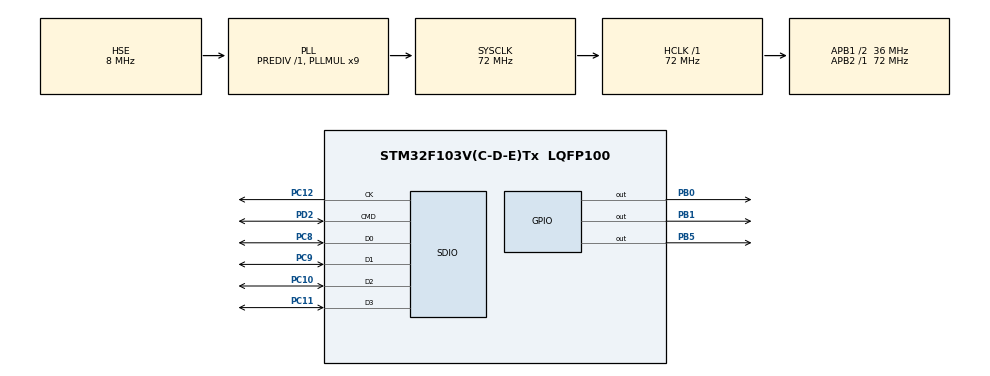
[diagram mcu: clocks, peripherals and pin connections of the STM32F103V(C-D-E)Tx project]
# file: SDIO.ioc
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FATFS._MAX_SS=4096
Mcu.Family=STM32F1
Mcu.Name=STM32F103V(C-D-E)Tx
Mcu.Package=LQFP100
NVIC.PriorityGroup=NVIC_PRIORITYGROUP_4
OSC_IN.Mode=HSE-External-Oscillator
OSC_IN.Signal=RCC_OSC_IN
OSC_OUT.Mode=HSE-External-Oscillator
OSC_OUT.Signal=RCC_OSC_OUT
PA13.Mode=Serial_Wire
PA13.Signal=SYS_JTMS-SWDIO
PA14.Mode=Serial_Wire
PA14.Signal=SYS_JTCK-SWCLK
PB0.GPIO_Speed=GPIO_SPEED_FREQ_HIGH
PB0.PinState=GPIO_PIN_SET
PB0.Signal=GPIO_Output
PB1.GPIO_Speed=GPIO_SPEED_FREQ_HIGH
PB1.PinState=GPIO_PIN_SET
PB1.Signal=GPIO_Output
PB5.GPIO_Speed=GPIO_SPEED_FREQ_HIGH
PB5.PinState=GPIO_PIN_SET
PB5.Signal=GPIO_Output
PC10.Mode=SD_4_bits_Wide_bus
PC10.Signal=SDIO_D2
PC11.Mode=SD_4_bits_Wide_bus
PC11.Signal=SDIO_D3
PC12.Mode=SD_4_bits_Wide_bus
PC12.Signal=SDIO_CK
PC14-OSC32_IN.Mode=LSE-External-Oscillator
PC14-OSC32_IN.Signal=RCC_OSC32_IN
PC15-OSC32_OUT.Mode=LSE-External-Oscillator
PC15-OSC32_OUT.Signal=RCC_OSC32_OUT
PC8.Mode=SD_4_bits_Wide_bus
PC8.Signal=SDIO_D0
PC9.Mode=SD_4_bits_Wide_bus
PC9.Signal=SDIO_D1
PD2.Mode=SD_4_bits_Wide_bus
PD2.Signal=SDIO_CMD
ProjectManager.HeapSize=0x2000
ProjectManager.StackSize=0x4000
ProjectManager.TargetToolchain=MDK-ARM V5
RCC.AHBFreq_Value=72000000
RCC.APB1CLKDivider=RCC_HCLK_DIV2
RCC.APB1Freq_Value=36000000
RCC.APB1TimFreq_Value=72000000
RCC.APB2Freq_Value=72000000
RCC.APB2TimFreq_Value=72000000
RCC.HCLKFreq_Value=72000000
RCC.PLLMUL=RCC_PLL_MUL9
RCC.PLLSourceVirtual=RCC_PLLSOURCE_HSE
RCC.SYSCLKFreq_VALUE=72000000
RCC.SYSCLKSource=RCC_SYSCLKSOURCE_PLLCLK
RCC.USBFreq_Value=72000000
SDIO.ClockDiv=4
SDIO.HardwareFlowControl=SDIO_HARDWARE_FLOW_CONTROL_ENABLE
VP_FATFS_VS_SDIO.Mode=SDIO
board=custom

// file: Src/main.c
/* USER CODE BEGIN Header */
/**
  ******************************************************************************
  * @file           : main.c
  * @brief          : Main program body
  ******************************************************************************
  * @attention
  *
  * <h2><center>&copy; Copyright (c) 2019 STMicroelectronics.
  * All rights reserved.</center></h2>
  *
  * This software component is licensed by ST under Ultimate Liberty license
  * SLA0044, the "License"; You may not use this file except in compliance with
  * the License. You may obtain a copy of the License at:
  *                             www.st.com/SLA0044
  *
  ******************************************************************************
  */
/* USER CODE END Header */

#include "main.h"
#include "fatfs.h"

SD_HandleTypeDef hsd;

void SystemClock_Config(void);
static void MX_GPIO_Init(void);
static void MX_SDIO_SD_Init(void);

int main(void)
{

  /* MCU Configuration--------------------------------------------------------*/

  /* Reset of all peripherals, Initializes the Flash interface and the Systick. */
  HAL_Init();

  /* Configure the system clock */
  SystemClock_Config();

  /* Initialize all configured peripherals */
  MX_GPIO_Init();
  MX_SDIO_SD_Init();
  MX_FATFS_Init();
  /* USER CODE BEGIN 2 */
	FATFS myFATFS;
	FIL myFILE;
	UINT numberofbytes;
	char myPath[] = "TEST.TXT\0";
	char myData[] = "Hello World\0";
	FRESULT res;

  res = f_mount(&myFATFS,SDPath,1);
	if (res == FR_OK)
	{
		HAL_GPIO_WritePin(GPIOB, GPIO_PIN_0,GPIO_PIN_RESET);
		f_open(&myFILE, myPath, FA_WRITE |FA_CREATE_ALWAYS);
		uint16_t i;
		/*
		for (i = 0; i < sizeof(myData); i++)
		{
			f_write(&myFILE, myData+i, 1, &numberofbytes);
		}*/
		f_write(&myFILE, myData, sizeof(myData), &numberofbytes);
		f_close(&myFILE);
		HAL_Delay(1000);
		HAL_GPIO_WritePin(GPIOB, GPIO_PIN_1,GPIO_PIN_RESET);
 	}
	else
	{
		HAL_GPIO_WritePin(GPIOB, GPIO_PIN_5,GPIO_PIN_RESET);
	}
  /* USER CODE END 2 */

  /* Infinite loop */
  while (1)
  {

  }
}

void SystemClock_Config(void)
{
  RCC_OscInitTypeDef RCC_OscInitStruct = {0};
  RCC_ClkInitTypeDef RCC_ClkInitStruct = {0};

  /** Initializes the CPU, AHB and APB busses clocks
  */
  RCC_OscInitStruct.OscillatorType = RCC_OSCILLATORTYPE_HSE;
  RCC_OscInitStruct.HSEState = RCC_HSE_ON;
  RCC_OscInitStruct.HSEPredivValue = RCC_HSE_PREDIV_DIV1;
  RCC_OscInitStruct.HSIState = RCC_HSI_ON;
  RCC_OscInitStruct.PLL.PLLState = RCC_PLL_ON;
  RCC_OscInitStruct.PLL.PLLSource = RCC_PLLSOURCE_HSE;
  RCC_OscInitStruct.PLL.PLLMUL = RCC_PLL_MUL9;
  if (HAL_RCC_OscConfig(&RCC_OscInitStruct) != HAL_OK)
  {
    Error_Handler();
  }
  /** Initializes the CPU, AHB and APB busses clocks
  */
  RCC_ClkInitStruct.ClockType = RCC_CLOCKTYPE_HCLK|RCC_CLOCKTYPE_SYSCLK
                              |RCC_CLOCKTYPE_PCLK1|RCC_CLOCKTYPE_PCLK2;
  RCC_ClkInitStruct.SYSCLKSource = RCC_SYSCLKSOURCE_PLLCLK;
  RCC_ClkInitStruct.AHBCLKDivider = RCC_SYSCLK_DIV1;
  RCC_ClkInitStruct.APB1CLKDivider = RCC_HCLK_DIV2;
  RCC_ClkInitStruct.APB2CLKDivider = RCC_HCLK_DIV1;

  if (HAL_RCC_ClockConfig(&RCC_ClkInitStruct, FLASH_LATENCY_2) != HAL_OK)
  {
    Error_Handler();
  }
}

static void MX_SDIO_SD_Init(void)
{

  hsd.Instance = SDIO;
  hsd.Init.ClockEdge = SDIO_CLOCK_EDGE_RISING;
  hsd.Init.ClockBypass = SDIO_CLOCK_BYPASS_DISABLE;
  hsd.Init.ClockPowerSave = SDIO_CLOCK_POWER_SAVE_DISABLE;
  hsd.Init.BusWide = SDIO_BUS_WIDE_1B;
  hsd.Init.HardwareFlowControl = SDIO_HARDWARE_FLOW_CONTROL_ENABLE;
  hsd.Init.ClockDiv = 4;

}

static void MX_GPIO_Init(void)
{
  GPIO_InitTypeDef GPIO_InitStruct = {0};

  /* GPIO Ports Clock Enable */
  __HAL_RCC_GPIOC_CLK_ENABLE();
  __HAL_RCC_GPIOB_CLK_ENABLE();
  __HAL_RCC_GPIOA_CLK_ENABLE();
  __HAL_RCC_GPIOD_CLK_ENABLE();

  /*Configure GPIO pin Output Level */
  HAL_GPIO_WritePin(GPIOB, GPIO_PIN_0|GPIO_PIN_1|GPIO_PIN_5, GPIO_PIN_SET);

  /*Configure GPIO pins : PB0 PB1 PB5 */
  GPIO_InitStruct.Pin = GPIO_PIN_0|GPIO_PIN_1|GPIO_PIN_5;
  GPIO_InitStruct.Mode = GPIO_MODE_OUTPUT_PP;
  GPIO_InitStruct.Pull = GPIO_NOPULL;
  GPIO_InitStruct.Speed = GPIO_SPEED_FREQ_HIGH;
  HAL_GPIO_Init(GPIOB, &GPIO_InitStruct);

}

void Error_Handler(void)
{
}

/************************ (C) COPYRIGHT STMicroelectronics *****END OF FILE****/
